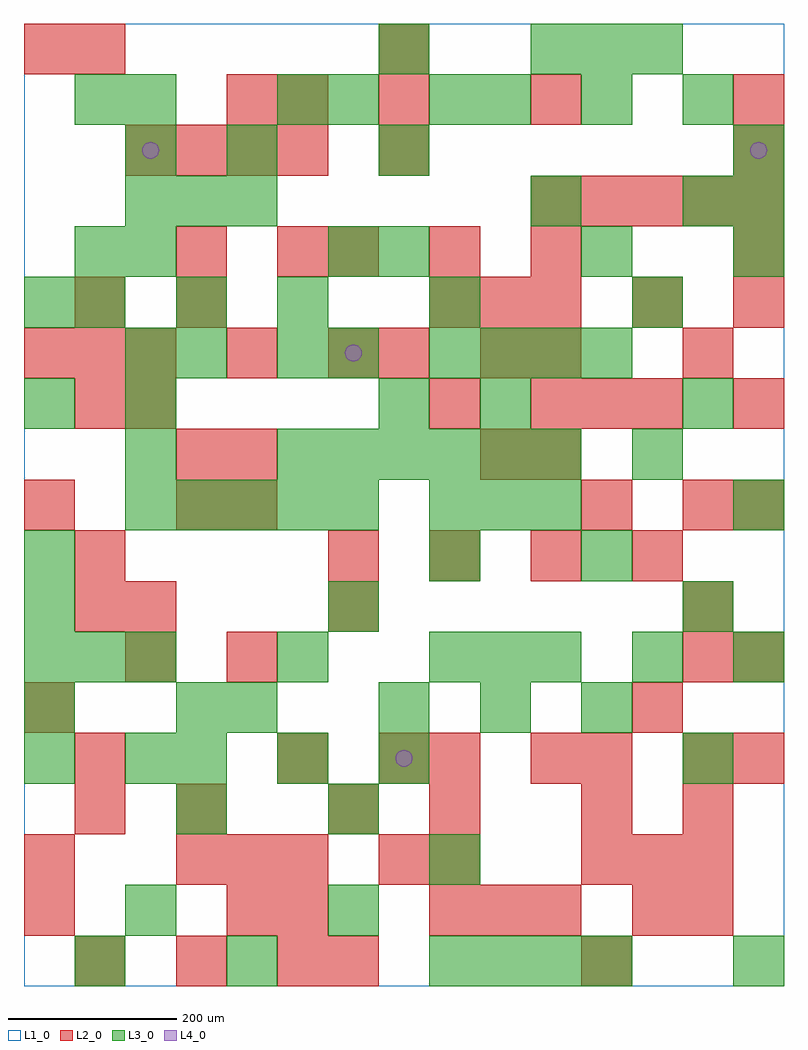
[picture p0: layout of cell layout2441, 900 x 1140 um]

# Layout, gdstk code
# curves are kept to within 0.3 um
import gdstk
lib = gdstk.Library(unit=1e-6, precision=1e-09)
def R(c, l, rs):  # rectangles x0, y0, x1, y1
    for r in rs: c.add(gdstk.rectangle(r[:2], r[2:], *l))
def A(c, l, x, y, w, h, nx, ny, dx, dy):  # array of equal rectangles
    R(c, l, [(x+i*dx, y+j*dy, x+i*dx+w, y+j*dy+h) for i in range(nx) for j in range(ny)])
def P(c, l, *ps):  # polygons
    for p in ps: c.add(gdstk.Polygon(p, *l))
L1_0 = (1, 0)
L2_0 = (2, 0)
L3_0 = (3, 0)
L4_0 = (4, 0)

layout2441 = lib.new_cell('layout2441')
R(layout2441, L1_0, [(0,0,900,1140)])
A(layout2441, L2_0, 60, 0, 60, 60, 3, 1, 120, 0)
A(layout2441, L2_0, 480, 60, 60, 60, 3, 2, 60, 720)
A(layout2441, L2_0, 180, 120, 60, 60, 3, 1, 60, 0)
A(layout2441, L2_0, 480, 120, 60, 60, 1, 3, 0, 60)
A(layout2441, L2_0, 660, 120, 60, 60, 3, 1, 60, 0)
A(layout2441, L2_0, 360, 480, 60, 60, 4, 1, 120, 0)
A(layout2441, L2_0, 840, 540, 60, 60, 1, 3, 0, 120)
A(layout2441, L2_0, 600, 660, 60, 60, 3, 1, 60, 0)
A(layout2441, L2_0, 0, 720, 60, 60, 3, 1, 60, 0)
A(layout2441, L2_0, 360, 840, 60, 60, 3, 1, 120, 0)
A(layout2441, L2_0, 600, 900, 60, 60, 5, 1, 60, 0)
A(layout2441, L2_0, 120, 960, 60, 60, 4, 1, 60, 0)
A(layout2441, L2_0, 420, 960, 60, 60, 1, 3, 0, 60)
R(layout2441, L2_0, [(360,0,420,60), (660,0,720,60), (0,60,60,120), (240,60,300,120), (300,60,360,120), (720,60,780,120), (780,60,840,120), (0,120,60,180), (420,120,480,180), (60,180,120,240), (180,180,240,240), (360,180,420,240), (660,180,720,240), (780,180,840,240), (60,240,120,300), (300,240,360,300), (420,240,480,300), (600,240,660,300), (660,240,720,300), (780,240,840,300), (840,240,900,300), (0,300,60,360), (720,300,780,360), (120,360,180,420), (240,360,300,420), (780,360,840,420), (840,360,900,420), (60,420,120,480), (120,420,180,480), (360,420,420,480), (780,420,840,480), (60,480,120,540), (0,540,60,600), (180,540,240,600), (240,540,300,600), (660,540,720,600), (780,540,840,600), (180,600,240,660), (240,600,300,660), (540,600,600,660), (600,600,660,660), (60,660,120,720), (120,660,180,720), (480,660,540,720), (240,720,300,780), (360,720,420,780), (420,720,480,780), (540,720,600,780), (600,720,660,780), (780,720,840,780), (60,780,120,840), (180,780,240,840), (720,780,780,840), (180,840,240,900), (300,840,360,900), (840,840,900,900), (840,960,900,1020), (240,1020,300,1080), (300,1020,360,1080), (600,1020,660,1080), (840,1020,900,1080), (0,1080,60,1140), (60,1080,120,1140)])
A(layout2441, L3_0, 480, 0, 60, 60, 4, 2, 60, 720)
A(layout2441, L3_0, 180, 240, 60, 60, 3, 1, 120, 0)
A(layout2441, L3_0, 420, 300, 60, 60, 3, 1, 120, 0)
A(layout2441, L3_0, 0, 360, 60, 60, 3, 1, 60, 0)
A(layout2441, L3_0, 480, 360, 60, 60, 3, 2, 60, 180)
A(layout2441, L3_0, 780, 420, 60, 60, 1, 3, 0, 240)
A(layout2441, L3_0, 120, 540, 60, 60, 5, 1, 60, 0)
A(layout2441, L3_0, 120, 600, 60, 60, 1, 3, 0, 60)
A(layout2441, L3_0, 300, 600, 60, 60, 6, 1, 60, 0)
A(layout2441, L3_0, 60, 780, 60, 60, 3, 1, 120, 0)
A(layout2441, L3_0, 420, 840, 60, 60, 1, 3, 0, 120)
A(layout2441, L3_0, 840, 840, 60, 60, 1, 3, 0, 60)
A(layout2441, L3_0, 120, 900, 60, 60, 3, 1, 60, 0)
A(layout2441, L3_0, 540, 1020, 60, 60, 3, 1, 120, 0)
A(layout2441, L3_0, 600, 1080, 60, 60, 3, 1, 60, 0)
R(layout2441, L3_0, [(60,0,120,60), (240,0,300,60), (840,0,900,60), (120,60,180,120), (360,60,420,120), (480,120,540,180), (180,180,240,240), (360,180,420,240), (0,240,60,300), (120,240,180,300), (780,240,840,300), (0,300,60,360), (180,300,240,360), (240,300,300,360), (300,360,360,420), (720,360,780,420), (840,360,900,420), (0,420,60,480), (360,420,420,480), (0,480,60,540), (480,480,540,540), (660,480,720,540), (840,540,900,600), (720,600,780,660), (0,660,60,720), (420,660,480,720), (540,660,600,720), (180,720,240,780), (300,720,360,780), (360,720,420,780), (0,780,60,840), (480,780,540,840), (720,780,780,840), (60,840,120,900), (120,840,180,900), (360,840,420,900), (660,840,720,900), (600,900,660,960), (120,960,180,1020), (240,960,300,1020), (60,1020,120,1080), (120,1020,180,1080), (300,1020,360,1080), (360,1020,420,1080), (480,1020,540,1080)])
P(layout2441, L4_0, [(160,990),(159.239,993.827),(157.071,997.071),(153.827,999.239),(150,1000),(146.173,999.239),(142.929,997.071),(140.761,993.827),(140,990),(140.761,986.173),(142.929,982.929),(146.173,980.761),(150,980),(153.827,980.761),(157.071,982.929),(159.239,986.173)],
  [(400,750),(399.239,753.827),(397.071,757.071),(393.827,759.239),(390,760),(386.173,759.239),(382.929,757.071),(380.761,753.827),(380,750),(380.761,746.173),(382.929,742.929),(386.173,740.761),(390,740),(393.827,740.761),(397.071,742.929),(399.239,746.173)],
  [(460,270),(459.239,273.827),(457.071,277.071),(453.827,279.239),(450,280),(446.173,279.239),(442.929,277.071),(440.761,273.827),(440,270),(440.761,266.173),(442.929,262.929),(446.173,260.761),(450,260),(453.827,260.761),(457.071,262.929),(459.239,266.173)],
  [(880,990),(879.239,993.827),(877.071,997.071),(873.827,999.239),(870,1000),(866.173,999.239),(862.929,997.071),(860.761,993.827),(860,990),(860.761,986.173),(862.929,982.929),(866.173,980.761),(870,980),(873.827,980.761),(877.071,982.929),(879.239,986.173)])

lib.write_gds('layout2441.gds')
